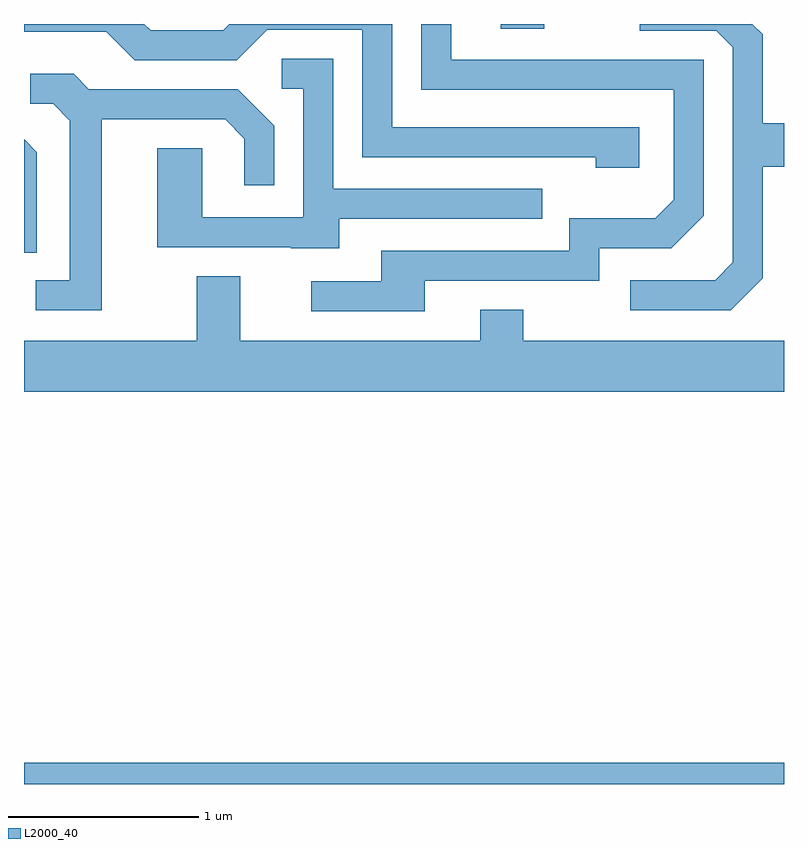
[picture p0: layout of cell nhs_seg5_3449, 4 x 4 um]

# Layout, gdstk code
import gdstk
lib = gdstk.Library(unit=1e-6, precision=1e-09)
def R(c, l, rs):  # rectangles x0, y0, x1, y1
    for r in rs: c.add(gdstk.rectangle(r[:2], r[2:], *l))
def P(c, l, *ps):  # polygons
    for p in ps: c.add(gdstk.Polygon(p, *l))
L2000_40 = (2000, 40)

nhs_seg5_3449 = lib.new_cell('nhs_seg5_3449')
R(nhs_seg5_3449, L2000_40, [(287.611,1448.072,291.611,1448.184), (290.121,1452.046,290.349,1452.072)])
P(nhs_seg5_3449, L2000_40, [(290.849,1451.529),(289.549,1451.529),(289.549,1452.072),(288.692,1452.072),(288.659,1452.039),(288.277,1452.039),(288.244,1452.072),(287.611,1452.072),(287.611,1452.031),(288.044,1452.031),(288.194,1451.881),(288.732,1451.881),(288.892,1452.041),(289.391,1452.041),(289.391,1451.371),(290.621,1451.371),(290.621,1451.316),(290.849,1451.316)],
  [(291.499,1450.734),(291.499,1451.321),(291.611,1451.321),(291.611,1451.549),(291.499,1451.549),(291.499,1452.017),(291.444,1452.072),(290.853,1452.072),(290.853,1452.036),(291.254,1452.036),(291.341,1451.949),(291.341,1450.817),(291.249,1450.724),(290.803,1450.724),(290.803,1450.566),(291.332,1450.566)],
  [(289.719,1450.721),(290.639,1450.721),(290.639,1450.891),(291.017,1450.891),(291.189,1451.064),(291.189,1451.884),(289.859,1451.884),(289.859,1452.072),(289.701,1452.072),(289.701,1451.726),(291.031,1451.726),(291.031,1451.147),(290.934,1451.049),(290.481,1451.049),(290.481,1450.879),(289.491,1450.879),(289.491,1450.719),(289.123,1450.719),(289.123,1450.561),(289.719,1450.561)],
  [(289.269,1451.046),(290.338,1451.046),(290.338,1451.204),(289.239,1451.204),(289.239,1451.889),(288.968,1451.889),(288.968,1451.731),(289.081,1451.731),(289.081,1451.054),(288.549,1451.054),(288.549,1451.419),(288.311,1451.419),(288.311,1450.896),(289.015,1450.896),(289.015,1450.891),(289.269,1450.891)],
  [(288.019,1451.571),(288.669,1451.571),(288.771,1451.469),(288.771,1451.223),(288.929,1451.223),(288.929,1451.537),(288.737,1451.729),(287.952,1451.729),(287.872,1451.809),(287.643,1451.809),(287.643,1451.651),(287.764,1451.651),(287.851,1451.564),(287.851,1450.724),(287.673,1450.724),(287.673,1450.566),(288.019,1450.566)],
  [(287.679,1451.397),(287.611,1451.465),(287.611,1450.868),(287.679,1450.868)],
  [(291.611,1450.404),(290.239,1450.404),(290.239,1450.569),(290.011,1450.569),(290.011,1450.404),(288.749,1450.404),(288.749,1450.744),(288.521,1450.744),(288.521,1450.404),(287.611,1450.404),(287.611,1450.136),(291.611,1450.136)])

lib.write_gds('nhs_seg5_3449.gds')
